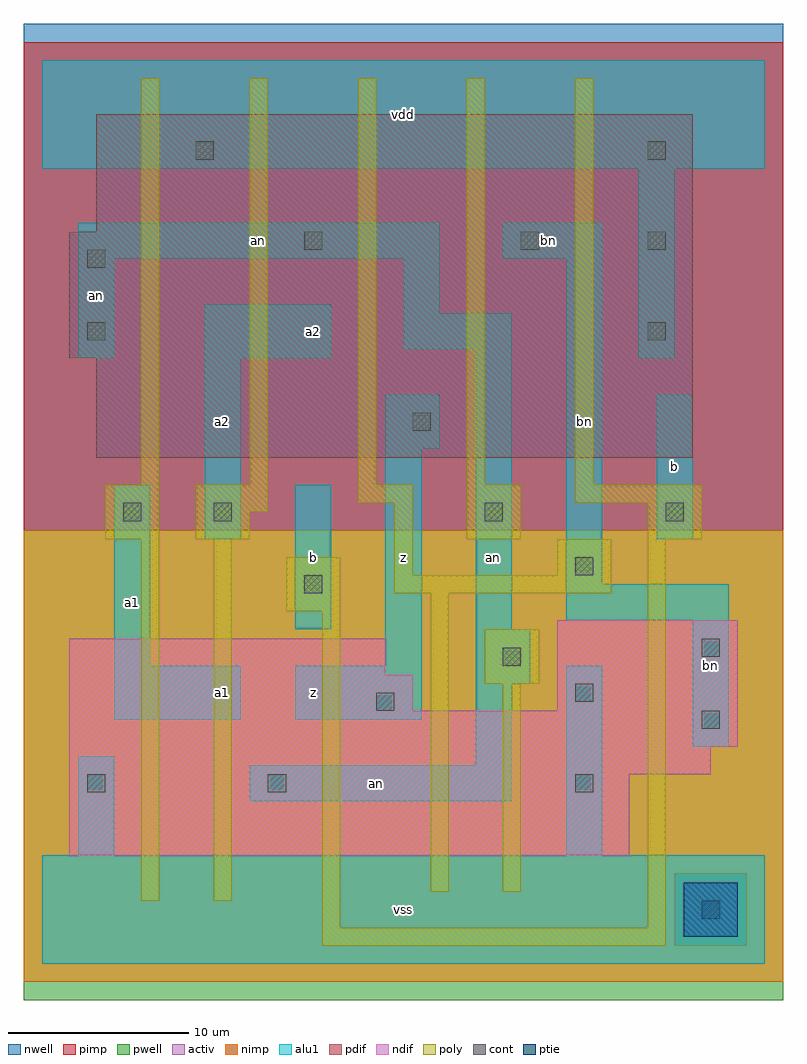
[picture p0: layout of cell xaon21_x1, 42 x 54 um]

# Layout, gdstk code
import gdstk
lib = gdstk.Library(unit=1e-6, precision=1e-09)
def R(c, l, rs):  # rectangles x0, y0, x1, y1
    for r in rs: c.add(gdstk.rectangle(r[:2], r[2:], *l))
def A(c, l, x, y, w, h, nx, ny, dx, dy):  # array of equal rectangles
    R(c, l, [(x+i*dx, y+j*dy, x+i*dx+w, y+j*dy+h) for i in range(nx) for j in range(ny)])
ndif = (3, 0)
pdif = (4, 0)
ptie = (6, 0)
cont = (25, 0)
pwell = (41, 0)
nwell = (42, 0)
activ = (43, 0)
pimp = (44, 0)
nimp = (45, 0)
poly = (46, 0)
alu1 = (49, 0)

xaon21_x1 = lib.new_cell('xaon21_x1')
R(xaon21_x1, ndif, [(1.5,6,32.5,10.5), (1.5,10.5,37,12), (1.5,12,38.5,14), (1.5,14,20.5,16), (28.5,14,38.5,19), (1.5,16,19,18)])
R(xaon21_x1, pdif, [(3,28,36,33.5), (1.5,33.5,36,40.5), (3,40.5,36,47)])
R(xaon21_x1, ptie, [(35.5,1.5,38.5,4.5)])
A(xaon21_x1, cont, 33.5, 34.5, 1, 1, 1, 3, 0, 5)
R(xaon21_x1, cont, [(36.5,2.5,37.5,3.5), (2.5,9.5,3.5,10.5), (12.5,9.5,13.5,10.5), (29.5,9.5,30.5,10.5), (36.5,13,37.5,14), (18.5,14,19.5,15), (29.5,14.5,30.5,15.5), (25.5,16.5,26.5,17.5), (36.5,17,37.5,18), (14.5,20.5,15.5,21.5), (29.5,21.5,30.5,22.5), (4.5,24.5,5.5,25.5), (9.5,24.5,10.5,25.5), (24.5,24.5,25.5,25.5), (34.5,24.5,35.5,25.5), (20.5,29.5,21.5,30.5), (2.5,34.5,3.5,35.5), (2.5,38.5,3.5,39.5), (14.5,39.5,15.5,40.5), (26.5,39.5,27.5,40.5), (8.5,44.5,9.5,45.5)])
R(xaon21_x1, pwell, [(-1,-2,41,24)])
R(xaon21_x1, nwell, [(-1,24,41,52)])
R(xaon21_x1, activ, [(35.5,1.5,38.5,4.5), (1.5,6,32.5,10.5), (1.5,10.5,37,12), (1.5,12,38.5,14), (1.5,14,20.5,16), (28.5,14,38.5,19), (1.5,16,19,18), (3,28,36,33.5), (1.5,33.5,36,40.5), (3,40.5,36,47)])
R(xaon21_x1, pimp, [(35,1,39,5), (-1,24,41,51)])
R(xaon21_x1, nimp, [(-1,-1,41,1), (-1,1,35,5), (39,1,41,5), (-1,5,41,24)])
A(xaon21_x1, poly, 5.5, 26.5, 1, 22.5, 5, 1, 6, 0)
R(xaon21_x1, poly, [(15.5,1,34.5,2), (15.5,2,16.5,19.5), (33.5,2,34.5,23.5), (5.5,3.5,6.5,23.5), (9.5,3.5,10.5,23.5), (21.5,4,22.5,20.5), (25.5,4,26.5,15.5), (24.5,15.5,27.5,18.5), (13.5,19.5,16.5,22.5), (19.5,20.5,31.5,21.5), (19.5,21.5,20.5,25.5), (28.5,21.5,31.5,23.5), (3.5,23.5,6.5,26.5), (8.5,23.5,11.5,25), (23.5,23.5,26.5,26.5), (33.5,23.5,36.5,25.5), (8.5,25,12.5,26.5), (17.5,25.5,20.5,26.5), (29.5,25.5,36.5,26.5)])
R(xaon21_x1, alu1, [(0,0,40,6), (2,6,4,11.5), (29,6,31,16.5), (11.5,9,26,11), (24,11,26,15.5), (36,12,38,19), (4,13.5,11,16.5), (14,13.5,21,16.5), (24,15.5,27,18.5), (4,16.5,6,26.5), (19,16.5,21,28.5), (14,18.5,16,26.5), (24,18.5,26,34), (29,19,38,21), (29,21,31,39), (9,23.5,11,33.5), (34,23.5,36,31.5), (19,28.5,22,31.5), (2,33.5,4,39), (9,33.5,16,36.5), (33,33.5,35,44), (20,34,26,36), (20,36,22,39), (2,39,22,41), (25.5,39,31,41), (0,44,40,50)])
xaon21_x1.add(gdstk.Label('a1', (5,20), layer=49, texttype=0))
xaon21_x1.add(gdstk.Label('an', (3,37), layer=49, texttype=0))
xaon21_x1.add(gdstk.Label('a1', (10,15), layer=49, texttype=0))
xaon21_x1.add(gdstk.Label('a2', (10,30), layer=49, texttype=0))
xaon21_x1.add(gdstk.Label('vss', (20,3), layer=49, texttype=0))
xaon21_x1.add(gdstk.Label('z', (15,15), layer=49, texttype=0))
xaon21_x1.add(gdstk.Label('b', (15,22.5), layer=49, texttype=0))
xaon21_x1.add(gdstk.Label('z', (20,22.5), layer=49, texttype=0))
xaon21_x1.add(gdstk.Label('a2', (15,35), layer=49, texttype=0))
xaon21_x1.add(gdstk.Label('an', (12,40), layer=49, texttype=0))
xaon21_x1.add(gdstk.Label('vdd', (20,47), layer=49, texttype=0))
xaon21_x1.add(gdstk.Label('an', (18.5,10), layer=49, texttype=0))
xaon21_x1.add(gdstk.Label('an', (25,22.5), layer=49, texttype=0))
xaon21_x1.add(gdstk.Label('bn', (28,40), layer=49, texttype=0))
xaon21_x1.add(gdstk.Label('bn', (30,30), layer=49, texttype=0))
xaon21_x1.add(gdstk.Label('bn', (37,16.5), layer=49, texttype=0))
xaon21_x1.add(gdstk.Label('b', (35,27.5), layer=49, texttype=0))

lib.write_gds('xaon21_x1.gds')
